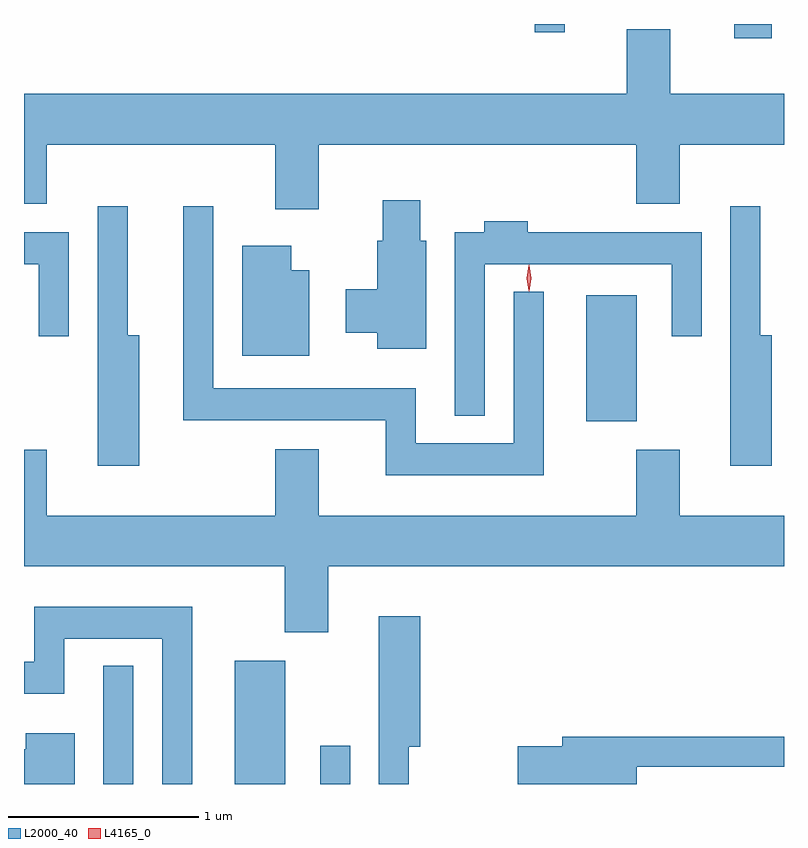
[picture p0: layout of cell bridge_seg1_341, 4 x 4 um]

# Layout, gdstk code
import gdstk
lib = gdstk.Library(unit=1e-6, precision=1e-09)
def R(c, l, rs):  # rectangles x0, y0, x1, y1
    for r in rs: c.add(gdstk.rectangle(r[:2], r[2:], *l))
def P(c, l, *ps):  # polygons
    for p in ps: c.add(gdstk.Polygon(p, *l))
L2000_40 = (2000, 40)
L4165_0 = (4165, 0)

bridge_seg1_341 = lib.new_cell('bridge_seg1_341')
R(bridge_seg1_341, L2000_40, [(910.166,878.451,910.324,879.073), (910.856,878.451,911.124,879.099), (911.306,878.451,911.464,878.653), (912.706,880.361,912.974,881.024), (913.486,882.376,913.684,882.451), (912.436,882.408,912.594,882.451)])
P(bridge_seg1_341, L2000_40, [(909.748,881.506),(909.869,881.506),(909.869,881.816),(911.071,881.816),(911.071,881.476),(911.299,881.476),(911.299,881.816),(912.971,881.816),(912.971,881.506),(913.199,881.506),(913.199,881.816),(913.748,881.816),(913.748,882.084),(913.149,882.084),(913.149,882.424),(912.921,882.424),(912.921,882.084),(909.748,882.084)],
  [(911.864,881.309),(911.834,881.309),(911.834,881.524),(911.636,881.524),(911.636,881.309),(911.606,881.309),(911.606,881.054),(911.441,881.054),(911.441,880.826),(911.606,880.826),(911.606,880.741),(911.864,880.741)],
  [(910.354,880.814),(910.294,880.814),(910.294,881.493),(910.136,881.493),(910.136,880.126),(910.354,880.126)],
  [(912.484,881.043),(912.326,881.043),(912.326,880.244),(911.809,880.244),(911.809,880.534),(910.744,880.534),(910.744,881.493),(910.586,881.493),(910.586,880.366),(911.651,880.366),(911.651,880.076),(912.484,880.076)],
  [(913.684,880.814),(913.624,880.814),(913.624,881.493),(913.466,881.493),(913.466,880.126),(913.684,880.126)],
  [(912.174,881.186),(913.156,881.186),(913.156,880.808),(913.314,880.808),(913.314,881.354),(912.399,881.354),(912.399,881.414),(912.171,881.414),(912.171,881.354),(912.016,881.354),(912.016,880.388),(912.174,880.388)],
  [(909.984,881.354),(909.748,881.354),(909.748,881.186),(909.826,881.186),(909.826,880.808),(909.984,880.808)],
  [(911.249,881.154),(911.154,881.154),(911.154,881.284),(910.896,881.284),(910.896,880.706),(911.249,880.706)],
  [(911.349,879.596),(913.748,879.596),(913.748,879.864),(913.199,879.864),(913.199,880.209),(912.971,880.209),(912.971,879.864),(911.299,879.864),(911.299,880.214),(911.071,880.214),(911.071,879.864),(909.869,879.864),(909.869,880.209),(909.748,880.209),(909.748,879.596),(911.121,879.596),(911.121,879.251),(911.349,879.251)],
  [(910.634,879.384),(909.801,879.384),(909.801,879.094),(909.748,879.094),(909.748,878.926),(909.959,878.926),(909.959,879.216),(910.476,879.216),(910.476,878.451),(910.634,878.451)],
  [(911.774,878.646),(911.834,878.646),(911.834,879.334),(911.616,879.334),(911.616,878.451),(911.774,878.451)],
  [(910.014,878.719),(909.756,878.719),(909.756,878.634),(909.748,878.634),(909.748,878.451),(910.014,878.451)],
  [(912.974,878.541),(913.748,878.541),(913.748,878.699),(912.581,878.699),(912.581,878.649),(912.346,878.649),(912.346,878.451),(912.974,878.451)])
P(bridge_seg1_341, L4165_0, [(912.407,881.043),(912.407,881.044),(912.397,881.113),(912.407,881.182),(912.407,881.183),(912.408,881.182),(912.417,881.113),(912.408,881.044)],
  [(912.404,881.047),(912.394,881.114),(912.404,881.18),(912.404,881.18),(912.405,881.18),(912.414,881.114),(912.405,881.047),(912.405,881.047)])

lib.write_gds('bridge_seg1_341.gds')
